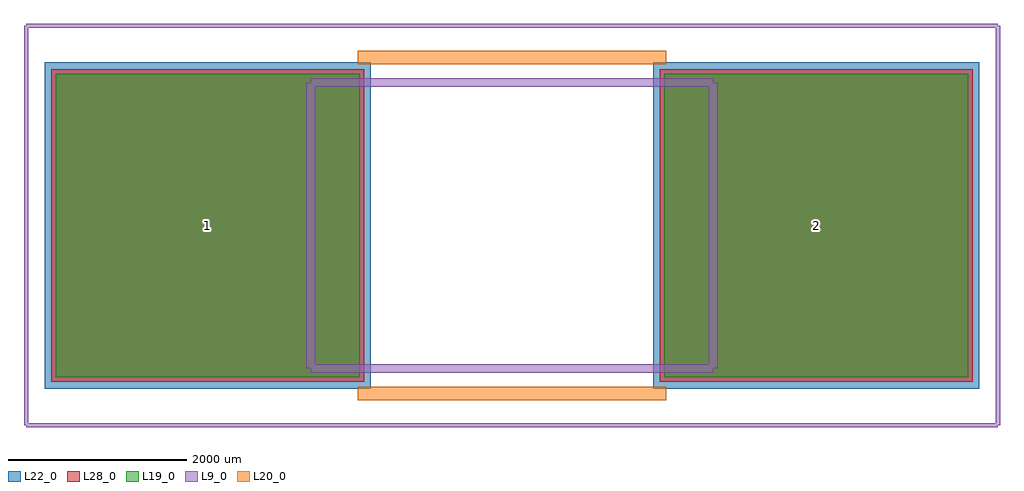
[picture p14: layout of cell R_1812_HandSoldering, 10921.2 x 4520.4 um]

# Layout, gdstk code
import gdstk
lib = gdstk.Library(unit=1e-6, precision=1e-09)
def R(c, l, rs):  # rectangles x0, y0, x1, y1
    for r in rs: c.add(gdstk.rectangle(r[:2], r[2:], *l))
L9_0 = (9, 0)
L19_0 = (19, 0)
L20_0 = (20, 0)
L22_0 = (22, 0)
L28_0 = (28, 0)

r_1812_handsoldering = lib.new_cell('R_1812_HandSoldering')
R(r_1812_handsoldering, L19_0, [(-5103.6,-1700,-1703.6,1700), (1703.6,-1700,5103.6,1700)])
R(r_1812_handsoldering, L22_0, [(-5228.6,-1825,-1578.6,1825), (1578.6,-1825,5228.6,1825)])
R(r_1812_handsoldering, L28_0, [(-5153.6,-1750,-1653.6,1750), (1653.6,-1750,5153.6,1750)])
r_1812_handsoldering.add(gdstk.FlexPath([(-1727.2,1879.6),(1727.2,1879.6)], 149.998, ends="flush", simple_path=True, layer=20, datatype=0))  # L20_0
r_1812_handsoldering.add(gdstk.FlexPath([(-1727.2,-1879.6),(1727.2,-1879.6)], 149.998, ends="flush", simple_path=True, layer=20, datatype=0))  # L20_0
r_1812_handsoldering.add(gdstk.FlexPath([(-5435.6,-2235.2),(-5435.6,2235.2)], 50, ends="flush", simple_path=True, layer=9, datatype=0))  # L9_0
r_1812_handsoldering.add(gdstk.FlexPath([(5435.6,-2235.2),(-5435.6,-2235.2)], 50, ends="flush", simple_path=True, layer=9, datatype=0))  # L9_0
r_1812_handsoldering.add(gdstk.FlexPath([(5435.6,2235.2),(5435.6,-2235.2)], 50, ends="flush", simple_path=True, layer=9, datatype=0))  # L9_0
r_1812_handsoldering.add(gdstk.FlexPath([(-5435.6,2235.2),(5435.6,2235.2)], 50, ends="flush", simple_path=True, layer=9, datatype=0))  # L9_0
r_1812_handsoldering.add(gdstk.FlexPath([(-2250,1600),(2250,1600)], 100, ends="flush", simple_path=True, layer=9, datatype=0))  # L9_0
r_1812_handsoldering.add(gdstk.FlexPath([(2250,1600),(2250,-1600)], 100, ends="flush", simple_path=True, layer=9, datatype=0))  # L9_0
r_1812_handsoldering.add(gdstk.FlexPath([(2250,-1600),(-2250,-1600)], 100, ends="flush", simple_path=True, layer=9, datatype=0))  # L9_0
r_1812_handsoldering.add(gdstk.FlexPath([(-2250,-1600),(-2250,1600)], 100, ends="flush", simple_path=True, layer=9, datatype=0))  # L9_0
r_1812_handsoldering.add(gdstk.Label('2', (3403.6,0), layer=28, texttype=0))
r_1812_handsoldering.add(gdstk.Label('1', (-3403.6,0), layer=28, texttype=0))
r_1812_handsoldering.add(gdstk.Label('type', (0,-3175), layer=9, texttype=0))
r_1812_handsoldering.add(gdstk.Label('devicename', (0,3175), layer=9, texttype=0))

lib.write_gds('R_1812_HandSoldering.gds')
